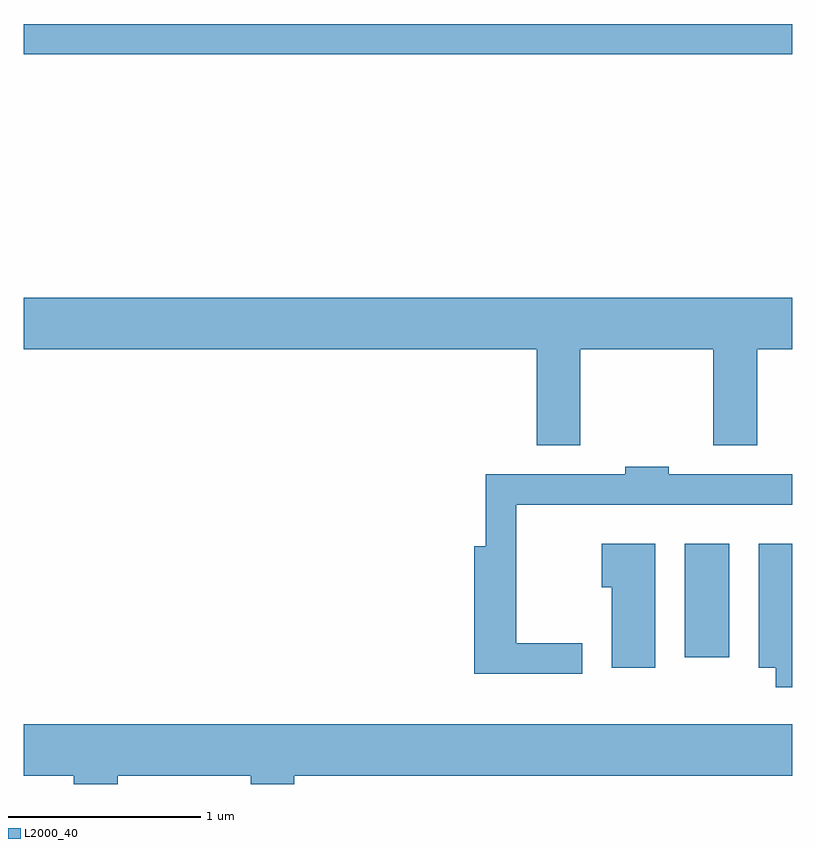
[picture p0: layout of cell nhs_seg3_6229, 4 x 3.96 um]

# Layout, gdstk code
import gdstk
lib = gdstk.Library(unit=1e-6, precision=1e-09)
def R(c, l, rs):  # rectangles x0, y0, x1, y1
    for r in rs: c.add(gdstk.rectangle(r[:2], r[2:], *l))
def P(c, l, *ps):  # polygons
    for p in ps: c.add(gdstk.Polygon(p, *l))
L2000_40 = (2000, 40)

nhs_seg3_6229 = lib.new_cell('nhs_seg3_6229')
R(nhs_seg3_6229, L2000_40, [(371.051,1206.551,371.284,1207.144), (367.611,1209.691,371.611,1209.849)])
P(nhs_seg3_6229, L2000_40, [(370.509,1208.156),(371.201,1208.156),(371.201,1207.656),(371.429,1207.656),(371.429,1208.156),(371.611,1208.156),(371.611,1208.424),(367.611,1208.424),(367.611,1208.156),(370.281,1208.156),(370.281,1207.656),(370.509,1207.656)],
  [(370.518,1206.624),(370.174,1206.624),(370.174,1207.346),(371.611,1207.346),(371.611,1207.504),(370.969,1207.504),(370.969,1207.544),(370.741,1207.544),(370.741,1207.504),(370.016,1207.504),(370.016,1207.129),(369.956,1207.129),(369.956,1206.466),(370.518,1206.466)],
  [(371.611,1207.144),(371.436,1207.144),(371.436,1206.496),(371.526,1206.496),(371.526,1206.396),(371.611,1206.396)],
  [(370.899,1207.144),(370.621,1207.144),(370.621,1206.916),(370.671,1206.916),(370.671,1206.496),(370.899,1206.496)],
  [(367.611,1205.936),(367.871,1205.936),(367.871,1205.892),(368.099,1205.892),(368.099,1205.936),(368.791,1205.936),(368.791,1205.892),(369.019,1205.892),(369.019,1205.936),(371.611,1205.936),(371.611,1206.204),(367.611,1206.204)])

lib.write_gds('nhs_seg3_6229.gds')
